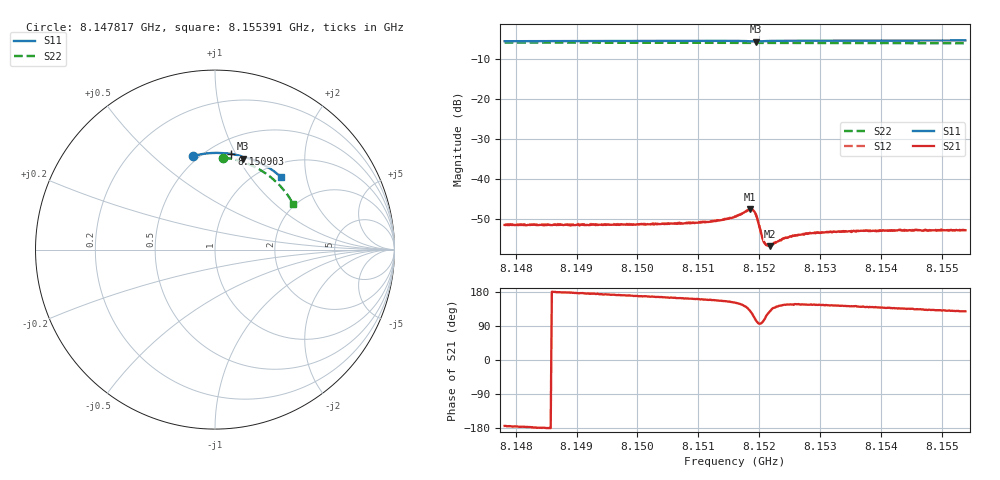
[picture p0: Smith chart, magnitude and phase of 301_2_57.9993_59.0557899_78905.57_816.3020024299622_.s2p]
#  HZ  S  RI  R  50.00
! Rohde & Schwarz Vector Network Analyzer
! Rohde-Schwarz,ZNB20-2Port,1311601062101988,3.16
! Created: UTC 3/21/2024, 1:03:47 AM
! freq[Hz]  re:S11  im:S11  re:S21  im:S21  re:S12  im:S12  re:S22  im:S22
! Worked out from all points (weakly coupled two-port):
!   401 points, 8.147817 GHz to 8.155391 GHz, reference 50 ohm
!   highest |S21| = -47.70 dB at 8.15185 GHz (marker M1); lowest = -56.9 dB at 8.152172 GHz (marker M2)
!   lowest |S11| = -5.5 dB at 8.151944 GHz (marker M3), VSWR 3.25, Z = 37.2 + j52.4 ohm
!   |S11| at or under -10 dB: nowhere
!   |S22| runs from -5.9 to -5.8 dB; largest |S21 - S12| = 0.00011
!   S11 on the Smith chart (normalised r, x): 8.147817 GHz: 0.47, +0.68; 8.150903 GHz: 0.64, +0.96; 8.155391 GHz: 1.24, +1.44
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8.1478166e9  -0.1221 0.5214  -0.00262 -0.000272  -0.00268 -0.00022  0.0467 0.5124
8.1490853e9  -0.0348 0.5368  -0.00264 0.000168  -0.00267 0.000214  0.1282 0.4972
8.1503539e9  0.0535 0.5374  -0.00263 0.00065  -0.00263 0.000719  0.2054 0.469
8.150903e9  0.0919 0.5329  -0.00264 0.000886  -0.00266 0.000919  0.2371 0.4529
8.1513575e9  0.1238 0.5268  -0.00276 0.00119  -0.00271 0.00126  0.2622 0.4381
8.1516036e9  0.1418 0.5219  -0.00294 0.00159  -0.00293 0.00165  0.2756 0.4296
8.1518498e9  0.1584 0.5105  -0.00264 0.00316  -0.00264 0.00321  0.2884 0.4202
8.1518876e9  0.1589 0.5077  -0.00214 0.0035  -0.00209 0.00357  0.2902 0.4187
8.1519066e9  0.1586 0.5064  -0.00174 0.00359  -0.00171 0.00366  0.291 0.418
8.1519444e9  0.1573 0.5057  -0.000941 0.00346  -0.000917 0.0035  0.293 0.4166
8.1519823e9  0.1565 0.5071  -0.00038 0.00287  -0.000327 0.00293  0.2949 0.4155
8.1520391e9  0.1588 0.5103  -0.00026 0.00197  -0.000243 0.00197  0.2978 0.4134
8.152077e9  0.1616 0.5116  -0.000415 0.00157  -0.000407 0.00157  0.2997 0.4119
8.1521148e9  0.1648 0.5123  -0.000639 0.00132  -0.000619 0.00137  0.3017 0.4106
8.1521717e9  0.1697 0.5126  -0.000859 0.00113  -0.000883 0.00116  0.3047 0.4085
8.1523799e9  0.1859 0.5092  -0.00143 0.00102  -0.00138 0.00106  0.3151 0.4
8.1524746e9  0.1926 0.5073  -0.00152 0.00101  -0.00154 0.00104  0.3198 0.3961
8.1525882e9  0.2004 0.5046  -0.00163 0.00103  -0.00164 0.00108  0.3254 0.3914
8.1528722e9  0.2194 0.4973  -0.00171 0.00117  -0.00174 0.00119  0.3388 0.3793
8.1534782e9  0.258 0.4796  -0.00173 0.00135  -0.00175 0.00137  0.3658 0.3519
8.1541409e9  0.2979 0.457  -0.00167 0.00151  -0.00163 0.00154  0.3932 0.3199
8.1553906e9  0.3671 0.4059  -0.0014 0.00177  -0.00141 0.00178  0.4361 0.2541
